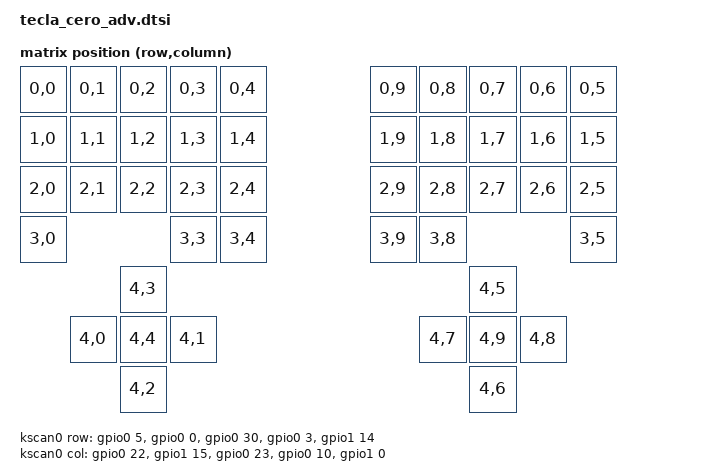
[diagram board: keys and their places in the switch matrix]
/*
 * tecla-cero キーボード メインデバイスツリー設定
 *
 * 48キー分割キーボード（左24 + 右24）
 * - 左右両側: トラックボール（PAW3222）搭載
 * - ROW4: 5方向タクトスイッチ
 * - ボード: BMP Boost (nRF52840)
 */

#include <zephyr/dt-bindings/gpio/nordic-nrf-gpio.h>
#include <dt-bindings/zmk/matrix_transform.h>
#include <physical_layouts.dtsi>
#include <input/processors.dtsi>
#include <dt-bindings/zmk/input_transform.h>
#include <dt-bindings/input/input-event-codes.h>

/ {
    /*
     * ZMKが使用するデバイスの選択
     */
    chosen {
        zmk,physical-layout = &physical_layout;  // 物理レイアウト
        zmk,kscan = &kscan0;                     // キースキャンデバイス
        zmk,battery = &non_lipo_battery;         // バッテリー監視デバイス
    };

    /*
     * キーマトリクス変換設定
     * 物理的なROW/COL位置からキーマップのインデックスへ変換
     */
    default_transform: keymap_transform_0 {
        compatible = "zmk,matrix-transform";
        columns = <10>;  // 左5列 + 右5列
        rows = <5>;      // 5行
        // 左23キー + 右23キー = 46キー
        // ROW3 は親指クラスター。物理キーが無い位置は空き:
        //   左 = COL1(ALT横のCTRL) と COL2、右 = COL6(~キー) と COL7
        map = <
            RC(0,0) RC(0,1) RC(0,2) RC(0,3) RC(0,4)    RC(0,9) RC(0,8) RC(0,7) RC(0,6) RC(0,5)
            RC(1,0) RC(1,1) RC(1,2) RC(1,3) RC(1,4)    RC(1,9) RC(1,8) RC(1,7) RC(1,6) RC(1,5)
            RC(2,0) RC(2,1) RC(2,2) RC(2,3) RC(2,4)    RC(2,9) RC(2,8) RC(2,7) RC(2,6) RC(2,5)
            RC(3,0)                 RC(3,3) RC(3,4)    RC(3,9) RC(3,8)                 RC(3,5)
            RC(4,0) RC(4,1) RC(4,2) RC(4,3) RC(4,4)    RC(4,9) RC(4,8) RC(4,7) RC(4,6) RC(4,5)
        >;
    };

    /*
     * 物理レイアウト設定
     * ZMK Studioで表示されるレイアウト名など
     */
    physical_layout: physical_layout_0 {
        compatible = "zmk,physical-layout";
        display-name = "Default";
        kscan = <&kscan0>;
        transform = <&default_transform>;

        /*
         * キーの物理位置 (ZMK Studio用)
         * <&key_physical_attrs 幅 高さ X Y 回転 回転原点X 回転原点Y>
         * 単位: centi-unit (100 = 1u), centi-degree
         * 順序はmatrix transformのmap順に対応
         *
         * 左5列 + 右5列、5行、48キー
         * Row3はCOL2(左)とCOL7相当(右)が空き
         */
        keys
            // Row 0: 左5キー + 右5キー
            = <&key_physical_attrs 100 100   0   0 0 0 0>
            , <&key_physical_attrs 100 100 100   0 0 0 0>
            , <&key_physical_attrs 100 100 200   0 0 0 0>
            , <&key_physical_attrs 100 100 300   0 0 0 0>
            , <&key_physical_attrs 100 100 400   0 0 0 0>
            , <&key_physical_attrs 100 100 700   0 0 0 0>
            , <&key_physical_attrs 100 100 800   0 0 0 0>
            , <&key_physical_attrs 100 100 900   0 0 0 0>
            , <&key_physical_attrs 100 100 1000  0 0 0 0>
            , <&key_physical_attrs 100 100 1100  0 0 0 0>
            // Row 1: 左5キー + 右5キー
            , <&key_physical_attrs 100 100   0 100 0 0 0>
            , <&key_physical_attrs 100 100 100 100 0 0 0>
            , <&key_physical_attrs 100 100 200 100 0 0 0>
            , <&key_physical_attrs 100 100 300 100 0 0 0>
            , <&key_physical_attrs 100 100 400 100 0 0 0>
            , <&key_physical_attrs 100 100 700 100 0 0 0>
            , <&key_physical_attrs 100 100 800 100 0 0 0>
            , <&key_physical_attrs 100 100 900 100 0 0 0>
            , <&key_physical_attrs 100 100 1000 100 0 0 0>
            , <&key_physical_attrs 100 100 1100 100 0 0 0>
            // Row 2: 左5キー + 右5キー
            , <&key_physical_attrs 100 100   0 200 0 0 0>
            , <&key_physical_attrs 100 100 100 200 0 0 0>
            , <&key_physical_attrs 100 100 200 200 0 0 0>
            , <&key_physical_attrs 100 100 300 200 0 0 0>
            , <&key_physical_attrs 100 100 400 200 0 0 0>
            , <&key_physical_attrs 100 100 700 200 0 0 0>
            , <&key_physical_attrs 100 100 800 200 0 0 0>
            , <&key_physical_attrs 100 100 900 200 0 0 0>
            , <&key_physical_attrs 100 100 1000 200 0 0 0>
            , <&key_physical_attrs 100 100 1100 200 0 0 0>
            // Row 3: 左3キー + 右3キー（親指クラスター。物理キーのみ）
            //   左 COL1(X=100)/COL2(X=200)、右 COL6(X=1000)/COL7(X=900) は物理キー無し
            , <&key_physical_attrs 100 100   0 300 0 0 0>   // RC(3,0) ALT/option
            , <&key_physical_attrs 100 100 300 300 0 0 0>   // RC(3,3) L1/MINUS
            , <&key_physical_attrs 100 100 400 300 0 0 0>   // RC(3,4) GUI/ENTER
            , <&key_physical_attrs 100 100 700 300 0 0 0>   // RC(3,9) SHIFT/CAPS
            , <&key_physical_attrs 100 100 800 300 0 0 0>   // RC(3,8) L2/SPACE
            , <&key_physical_attrs 100 100 1100 300 0 0 0>  // RC(3,5) RCTRL
            // Row 4: 左右の5方向タクトスイッチ（dya studio 表示用に十字配置）
            //
            // ※ keys の並び順は matrix transform の map 順に固定されている。
            //   左 = RC(4,0..4) なので keys 配列の 1..5番目 = binding index 0..4。
            //   右 = RC(4,9),(4,8),(4,7),(4,6),(4,5) と逆順のため、
            //   keys 配列の 6..10番目 = binding index 5,6,7,8,9 になる（要注意）。
            //   各エントリの X/Y を物理方向に合わせて配置（ZMK Studio 表示用の
            //   メタデータのみ。キーマップ動作・matrix には一切影響しない）。
            //   物理方向は実機検証で確定（2026-06-13）。
            //
            // --- 左タクト（binding index 0..4）---
            , <&key_physical_attrs 100 100  100 500 0 0 0>   // idx0 左倒し
            , <&key_physical_attrs 100 100  300 500 0 0 0>   // idx1 右倒し
            , <&key_physical_attrs 100 100  200 600 0 0 0>   // idx2 下倒し
            , <&key_physical_attrs 100 100  200 400 0 0 0>   // idx3 上倒し
            , <&key_physical_attrs 100 100  200 500 0 0 0>   // idx4 中央押し込み
            // --- 右タクト（keys 配列 6..10番目 = binding index 5,6,7,8,9）---
            // 全方向 実機確定（2026-06-14）。左タクトとは並びが異なる。
            , <&key_physical_attrs 100 100  900 500 0 0 0>   // idx5 中央押し込み
            , <&key_physical_attrs 100 100 1000 500 0 0 0>   // idx6 右倒し（トラックボール側）
            , <&key_physical_attrs 100 100  800 500 0 0 0>   // idx7 左倒し
            , <&key_physical_attrs 100 100  900 600 0 0 0>   // idx8 下倒し
            , <&key_physical_attrs 100 100  900 400 0 0 0>   // idx9 上倒し
            ;
    };

    /*
     * キースキャン（キーマトリクス）設定
     * GPIOピンの割り当てとスキャン方式
     */
    kscan0: kscan {
        compatible = "zmk,kscan-gpio-matrix";

        // 列（COL）のGPIOピン設定
        // COLはスキャン出力、PULL_DOWNで待機
        col-gpios
            = <&gpio0 22 (GPIO_ACTIVE_HIGH | GPIO_PULL_DOWN)>  // COL0
            , <&gpio1 15 (GPIO_ACTIVE_HIGH | GPIO_PULL_DOWN)>  // COL1
            , <&gpio0 23 (GPIO_ACTIVE_HIGH | GPIO_PULL_DOWN)>  // COL2
            , <&gpio0 10 (GPIO_ACTIVE_HIGH | GPIO_PULL_DOWN)>  // COL3
            , <&gpio1 0  (GPIO_ACTIVE_HIGH | GPIO_PULL_DOWN)>  // COL4
            ;

        // 行（ROW）のGPIOピン設定
        // ROWはスキャン入力
        row-gpios
            = <&gpio0 5  (GPIO_ACTIVE_HIGH)>  // ROW0
            , <&gpio0 0  (GPIO_ACTIVE_HIGH)>  // ROW1
            , <&gpio0 30 (GPIO_ACTIVE_HIGH)>  // ROW2
            , <&gpio0 3  (GPIO_ACTIVE_HIGH)>  // ROW3
            , <&gpio1 14 (GPIO_ACTIVE_HIGH)>  // ROW4
            ;

        debounce-press-ms = <15>;    // 押下時デバウンス（デフォルト5ms）
        debounce-release-ms = <15>;  // リリース時デバウンス（デフォルト5ms）

        wakeup-source;  // スリープからの復帰トリガーとして使用
    };

    /*
     * ステータスLED設定
     * BMP Boostの内蔵LED
     */
    leds {
        compatible = "gpio-leds";
        status_led: status_led {
            gpios = <&bmp 2 GPIO_ACTIVE_HIGH>;
            label = "Status LED";
        };
    };

    // ZMKステータスLEDデバイス（BLE接続状態などを表示）
    status_led_device: status_led_device {
        compatible = "zmk,status-led";
        led = <&status_led>;
    };

    /*
     * ブートローダートリガー設定
     * USB CDC ACM経由でブートローダーモードに入れるようにする
     */
    bootloader_trigger: bootloader_trigger {
        compatible = "zmk,cdc-acm-bootloader-trigger";
    };

    /*
     * タイピング中ポインタ抑制
     * 直近キー押下から require-prior-idle-ms 経過するまでポインタ入力を破棄
     */
    typing_suppress: typing_suppress {
        compatible = "zmk,input-processor-typing-suppress";
        #input-processor-cells = <0>;
        require-prior-idle-ms = <400>;
    };

    /*
     * トラックボール → スクロール変換
     * X 軸を横スクロール、Y 軸を縦スクロールにマップ
     */
    tb_to_scroll: tb_to_scroll {
        compatible = "zmk,input-processor-code-mapper";
        #input-processor-cells = <0>;
        type = <INPUT_EV_REL>;
        map = <INPUT_REL_X INPUT_REL_HWHEEL>,
              <INPUT_REL_Y INPUT_REL_WHEEL>;
    };

    /*
     * ポインティングデバイス入力リスナー
     * デフォルトは無効、input-listenerスニペットで有効化
     * 全レイヤーでカーソル移動（スクロールはタクトスイッチに割当）
     */
    // dya studio のランタイム入力プロセッサは central(右)専用のため、
    // ノード定義も配線も central のみで読まれるスニペット側に置く
    // （input-listener / input-split-listener）。peripheral には入れない。
    pointing_listener: pointing_listener {
        compatible = "zmk,input-listener";
        status = "disabled";
        input-processors = <&typing_suppress>,
                           <&zip_xy_transform (INPUT_TRANSFORM_X_INVERT | INPUT_TRANSFORM_Y_INVERT)>;
    };

    /*
     * バッテリー監視設定
     * デフォルトのLiPoバッテリー監視を無効化
     */
    vbatt: vbatt {
        status = "disabled";
    };

    // 非LiPoバッテリー（単4電池など）用の監視設定
    non_lipo_battery: non_lipo_battery {
        compatible = "zmk,non-lipo-battery";
        io-channels = <&adc 4>;  // ADCチャンネル4でバッテリー電圧を読み取り
    };

};

/*
 * SPI ピン制御設定（トラックボール用）
 * SPI0バスの有効化はinput-trackballスニペットで行う
 */
&pinctrl {
    // 通常動作時のSPIピン設定
    spi0_default: spi0_default {
        group1 {
            psels = <NRF_PSEL(SPIM_SCK, 0, 18)>,   // SCLK: GPIO 18
                <NRF_PSEL(SPIM_MOSI, 0, 16)>,      // SDIO: GPIO 16（MOSI/MISO共有）
                <NRF_PSEL(SPIM_MISO, 0, 16)>;
        };
    };

    // スリープ時のSPIピン設定（省電力）
    spi0_sleep: spi0_sleep {
        group1 {
            psels = <NRF_PSEL(SPIM_SCK, 0, 18)>,
                <NRF_PSEL(SPIM_MOSI, 0, 16)>,
                <NRF_PSEL(SPIM_MISO, 0, 16)>;
            low-power-enable;
        };
    };

    // I2C1ピン設定（BMP Boost Extender Mini経由のミニトラックパッド用）
    i2c1_default: i2c1_default {
        group1 {
            psels = <NRF_PSEL(TWIM_SDA, 0, 17)>,
                    <NRF_PSEL(TWIM_SCL, 0, 21)>;
            bias-pull-up;
        };
    };
    i2c1_sleep: i2c1_sleep {
        group1 {
            psels = <NRF_PSEL(TWIM_SDA, 0, 17)>,
                    <NRF_PSEL(TWIM_SCL, 0, 21)>;
            bias-pull-up;
            low-power-enable;
        };
    };
};
